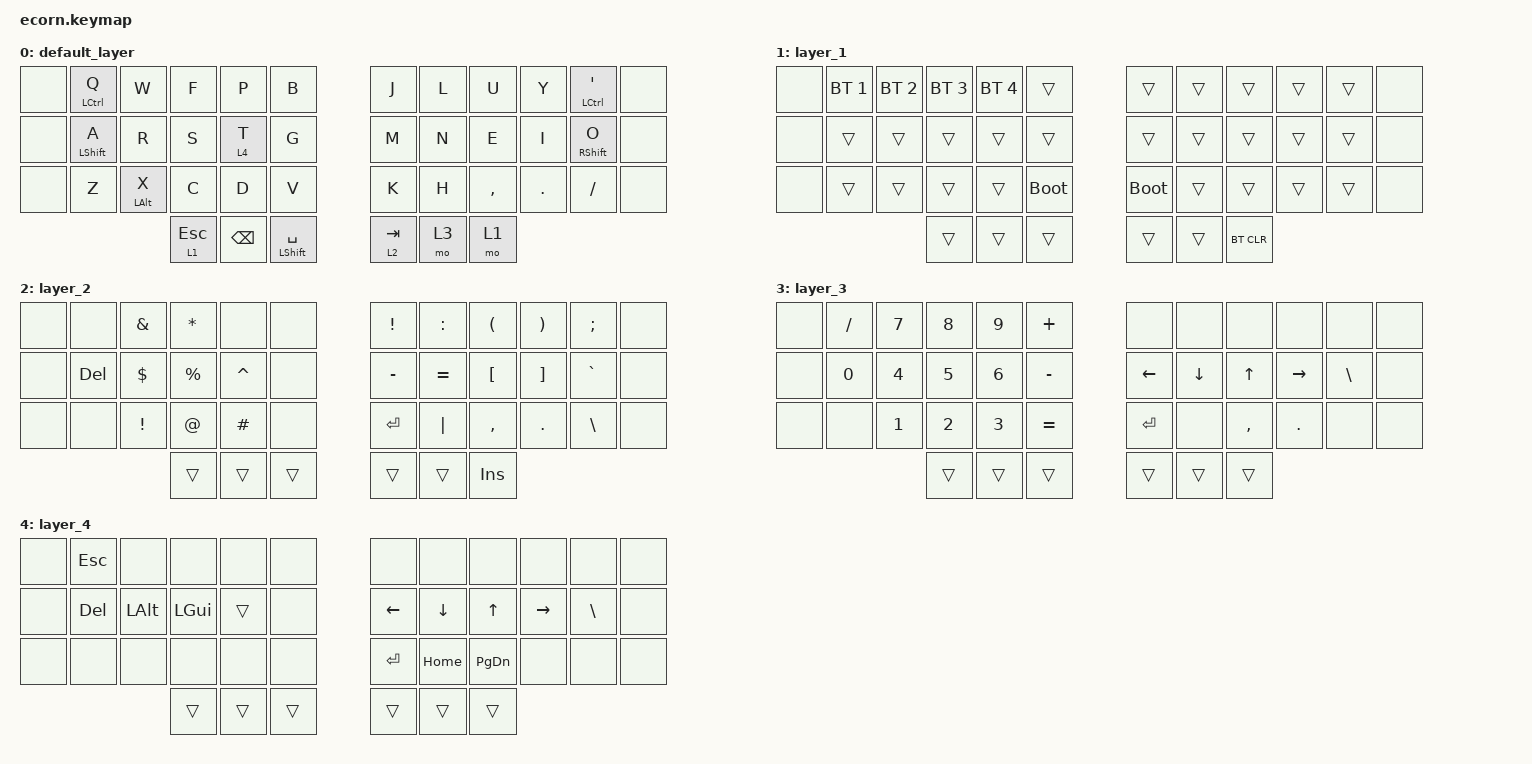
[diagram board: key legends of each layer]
#include <behaviors.dtsi>
#include <dt-bindings/zmk/keys.h>
#include <dt-bindings/zmk/bt.h>

/ {
    behaviors {
        hm: homerow_mods {
            compatible = "zmk,behavior-hold-tap";
            label = "HOMEROW_MODS";
            #binding-cells = <2>;
            tapping-term-ms = <175>;
            quick_tap_ms = <0>;
            flavor = "tap-preferred";
            bindings = <&kp>, <&kp>;
        };
    };

        keymap {
                compatible = "zmk,keymap";

                default_layer {
                        bindings = <
//,------------------------------------------------------------------.                    ,-----------------------------------------------------------------------.
   &none    &hm LCTRL Q &kp W     &kp F         &kp P       &kp B                          &kp J    &kp L       &kp U           &kp Y         &hm LCTRL SQT  &none
//|--------+----------+----------+-------------+-----------+---------|                    |--------+-----------+---------------+-------------+-----------+--------|
   &none    &hm LSHFT A   &kp R   &kp S         &lt 4 T     &kp G                          &kp M    &kp N       &kp E           &kp I         &hm RSHFT O    &none
//|--------+----------+----------+-------------+-----------+---------|                    |--------+-----------+---------------+-------------+-----------+--------|
   &none    &kp Z      &hm LALT X &kp C         &kp D       &kp V                          &kp K    &kp H       &kp COMMA       &kp DOT       &kp FSLH    &none
//|--------+----------+-----------+------------+-----------+---------+-----------|  |--------------+-----------+---------------+-------------+-----------+--------|
                                          &lt 1 ESC   &kp BSPC   &hm LSHFT SPACE        &lt 2 TAB  &mo  3     &mo 1
                                            //`----------------------------------'  `------------------------------------------'
                        >;
                };
                
                layer_1 {
                        bindings = <
//,-------------------------------------------------------------------------.                    ,---------------------------------------------------------.
   &none    &bt BT_SEL 1 &bt BT_SEL 2 &bt BT_SEL 3 &bt BT_SEL 4 &trans                            &trans   &trans     &trans   &trans   &trans     &none
//|--------+------------+------------+------------+------------+------------|                    |--------+----------+--------+--------+----------+--------|
   &none    &trans       &trans       &trans       &trans       &trans                            &trans   &trans     &trans   &trans   &trans     &none
//|--------+------------+------------+------------+------------+------------|                    |--------+----------+--------+--------+----------+--------|
   &none    &trans       &trans       &trans       &trans       &bootloader                       &bootloader  &trans &trans   &trans   &trans     &none
//|--------+------------+------------+------------+------------+------------+--------|  |--------+--------+----------+--------+--------+----------+--------|
                                                   &trans       &trans       &trans      &trans   &trans   &bt BT_CLR
                                                //`----------------------------------'  `----------------------------'
                        >;
                };

                layer_2 {
                        bindings = <
//,---------------------------------------------------------------.                    ,-------------------------------------------------------------.
   &none    &none    &kp AMPS     &kp STAR    &none       &none                         &kp EXCL   &kp COLON  &kp LPAR     &kp RPAR  &kp SEMI &none
//|--------+--------+----------+------------+------------+--------|                    |--------+------------+------------+--------+--------+--------|
   &none    &kp DEL  &kp DLLR   &kp PRCNT    &kp CARET    &none                         &kp MINUS &kp EQUAL   &kp LBKT     &kp RBKT &kp GRAVE   &none
//|--------+--------+----------+------------+------------+--------|                    |--------+------------+------------+--------+--------+--------|
   &none    &none    &kp EXCL   &kp AT       &kp HASH     &none                         &kp RET  &kp PIPE     &kp COMMA    &kp DOT  &kp BSLH  &none
//|--------+--------+----------+------------+------------+--------+--------|  |--------+--------+------------+------------+--------+--------+--------|
                                             &trans       &trans   &trans      &trans   &trans   &kp INS
                                         //`-------------------------------'  `------------------------------'
                        >;
                };

                layer_3 {
                        bindings = <
//,---------------------------------------------------------.                    ,----------------------------------------------------------.
   &none    &kp FSLH  &kp N7    &kp N8    &kp N9   &kp PLUS                       &none     &none     &none     &none     &none     &none
//|--------+---------+---------+---------+--------+---------|                    |---------+---------+---------+---------+---------+--------|
   &none    &kp N0    &kp N4    &kp N5    &kp N6   &kp MINUS                      &kp LEFT  &kp DOWN  &kp UP    &kp RIGHT &kp BSLH  &none
//|--------+---------+---------+---------+--------+---------|                    |---------+---------+---------+---------+---------+--------|
   &none    &none     &kp N1    &kp N2    &kp N3   &kp EQUAL                      &kp RET   &none     &kp COMMA &kp DOT   &none     &none
//|--------+---------+---------+---------+--------+---------+--------|  |--------+---------+---------+---------+---------+---------+--------|
                                          &trans   &trans    &trans      &trans   &trans    &trans
                                       //`---------------------------'  `----------------------------'
                        >;
                };

                layer_4 {
                        bindings = <
//,--------------------------------------------------------.                    ,----------------------------------------------------------.
   &none    &kp ESC  &none    &none      &none     &none                         &none    &none    &none      &none      &none     &none
//|--------+--------+--------+----------+---------+--------|                    |--------+--------+----------+----------+---------+--------|
   &none    &kp DEL  &kp LALT &kp LGUI   &trans    &none                         &kp LEFT &kp DOWN &kp UP     &kp RIGHT  &kp BSLH  &none
//|--------+--------+--------+----------+---------+--------|                    |--------+--------+----------+----------+---------+--------|
   &none    &none    &none    &none      &none     &none                         &kp RET  &kp HOME &kp PG_DN  &none      &none     &none
//|--------+--------+--------+----------+---------+--------+--------|  |--------+--------+--------+----------+----------+---------+--------|
                                         &trans    &trans   &trans      &trans   &trans   &trans
                                      //`---------------------------'  `--------------------------'
                        >;
                };
        };
};
